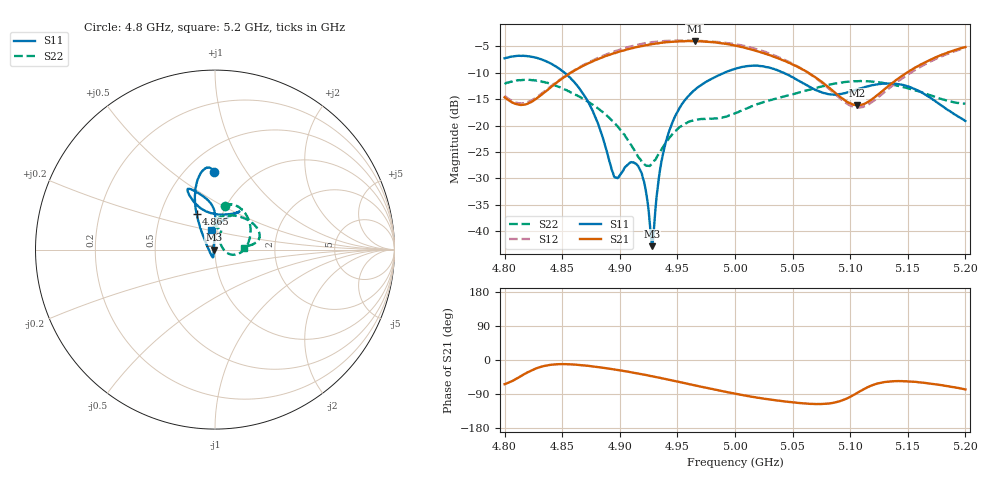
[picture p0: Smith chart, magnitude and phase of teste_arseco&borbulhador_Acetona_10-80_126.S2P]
! Network Analyzer HP8722D
! Hewlett-Packard
! Data name: Linha & Wilkinson
! Saver's name: Rodrigo Anjos
! Comments: Teste da utilização de aquisição
! continua pelo VNA HP8722D
! Time and date: 25/4/2025 16:19
!  Frequency  S11  S21  S12  S22
# HZ  S  MA R 50
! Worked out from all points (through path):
!   401 points, 4.8 GHz to 5.2 GHz, reference 50 ohm
!   highest |S21| = -3.96 dB at 4.965 GHz (marker M1); lowest = -16.1 dB at 5.106 GHz (marker M2)
!   lowest |S11| = -42.8 dB at 4.928 GHz (marker M3), VSWR 1.01, Z = 49.3 - j0.0863 ohm
!   |S11| at or under -10 dB: 4.852 GHz to 4.991 GHz (138.5 MHz wide, 2.81 % of centre); 5.042 GHz to end of sweep
!   |S22| runs from -27.6 to -11.3 dB; largest |S21 - S12| = 1.2
!   S11 on the Smith chart (normalised r, x): 4.8 GHz: 0.67, +0.72; 4.865 GHz: 0.76, +0.32; 5.2 GHz: 0.94, +0.21
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4.8e9  0.4345 90.9  0.1857 -63.8  0.1911 69.6  0.2479 77.2
4.82e9  0.454 97.1  0.1614 -32.5  0.167 98.4  0.2729 61.7
4.845e9  0.3605 107.5  0.2548 -11.3  0.2581 119.5  0.2378 34.4
4.865e9  0.2243 117.2  0.3531 -13.0  0.3577 120.8  0.1885 11.1
4.867e9  0.2089 118.3  0.3635 -13.7  0.3676 120.7  0.1823 8.8
4.88e9  0.1121 128.5  0.4215 -18.3  0.4328 118.3  0.1487 -5.2
4.896e9  0.03227 -165.9  0.4865 -25.3  0.5078 113.1  0.1041 -16.1
4.91e9  0.04521 -106.4  0.5395 -32.4  0.5639 107.2  0.06533 -13.7
4.917e9  0.0392 -103.0  0.5619 -36.4  0.5889 103.6  0.04905 -1.4
4.922e9  0.02622 -107.1  0.5751 -39.1  0.6035 100.8  0.04243 15.5
4.928e9  0.007225 -173.0  0.5923 -42.8  0.618 97.1  0.04338 40.5
4.93e9  0.01183 123.8  0.5952 -44.2  0.6199 95.8  0.04681 47.7
4.934e9  0.03261 99.9  0.6032 -46.7  0.6285 93.4  0.0544 57.9
4.939e9  0.06363 93.3  0.6145 -49.7  0.6341 90.1  0.06654 65.6
4.946e9  0.1096 89.8  0.6224 -54.2  0.639 85.6  0.08409 69.8
4.965e9  0.2178 91.0  0.6337 -67.0  0.6358 73.5  0.1133 71.6
5e9  0.3453 109.1  0.5735 -89.0  0.5915 50.9  0.1308 88.5
5.03e9  0.3542 115.2  0.4663 -104.0  0.482 33.9  0.1735 85.6
5.067e9  0.2265 105.2  0.3011 -115.8  0.2985 23.6  0.2229 57.2
5.106e9  0.2197 64.7  0.1561 -87.0  0.1482 55.9  0.2634 24.9
5.134e9  0.2509 57.3  0.2416 -56.6  0.2266 88.7  0.2483 12.4
5.2e9  0.1108 100.7  0.5551 -77.6  0.5449 70.2  0.1612 3.8
